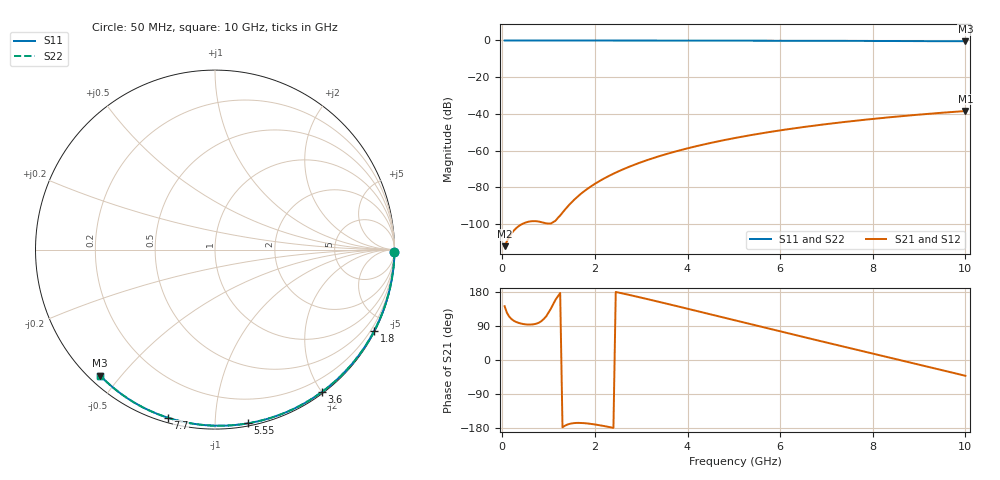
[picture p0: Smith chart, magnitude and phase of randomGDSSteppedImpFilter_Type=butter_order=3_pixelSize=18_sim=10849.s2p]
! freq	dB(S11)	phase(S11)	dB(S12)	phase(S12)
!  dB(S21)	phase(S21)	dB(S22)	phase(S22)
!S-par simulation data
#  GHz  S  DB  R 50
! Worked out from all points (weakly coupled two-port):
!   200 points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, 50 MHz to 10 GHz, reference 50 ohm
!   highest |S21| = -38.41 dB at 10 GHz (marker M1); lowest = -112.0 dB at 50 MHz (marker M2)
!   lowest |S11| = -0.4 dB at 10 GHz (marker M3), VSWR 38.66, Z = 1.55 - j22.1 ohm
!   |S11| at or under -10 dB: nowhere
!   |S22| runs from -0.4 to 0.0 dB; largest |S21 - S12| = 0
!   S11 on the Smith chart (normalised r, x): 50 MHz: open; 1.8 GHz: 0.04, -4.15; 3.6 GHz: 0.02, -2.00; 5.55 GHz: 0.02, -1.21; 7.7 GHz: 0.02, -0.76; 10 GHz: 0.03, -0.44
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0.05  -0.00 -0.8  -111.97 142.0  -111.97 142.0  -0.00 -0.8
0.9  -0.02 -13.7  -99.26 108.8  -99.26 108.8  -0.02 -13.7
1.75  -0.03 -26.4  -82.41 -166.5  -82.41 -166.5  -0.03 -26.4
1.8  -0.03 -27.1  -81.45 -167.0  -81.45 -167.0  -0.03 -27.1
1.85  -0.04 -27.9  -80.55 -167.6  -80.55 -167.6  -0.04 -27.9
1.9  -0.04 -28.6  -79.67 -168.4  -79.67 -168.4  -0.04 -28.6
2.05  -0.04 -30.8  -77.26 -171.1  -77.26 -171.1  -0.04 -30.8
2.25  -0.04 -33.7  -74.42 -175.5  -74.42 -175.5  -0.04 -33.7
2.45  -0.05 -36.6  -71.92 179.5  -71.92 179.5  -0.05 -36.6
2.65  -0.05 -39.5  -69.68 174.3  -69.68 174.3  -0.05 -39.5
3  -0.06 -44.6  -66.25 164.5  -66.25 164.5  -0.06 -44.6
3.4  -0.07 -50.2  -62.91 153.0  -62.91 153.0  -0.07 -50.2
3.6  -0.07 -53.0  -61.41 147.1  -61.41 147.1  -0.07 -53.0
4.3  -0.09 -62.7  -56.90 126.4  -56.90 126.4  -0.09 -62.7
5.05  -0.11 -72.7  -52.97 104.0  -52.97 104.0  -0.11 -72.7
5.55  -0.13 -79.2  -50.74 89.1  -50.74 89.1  -0.13 -79.2
6.1  -0.15 -86.2  -48.57 72.7  -48.57 72.7  -0.15 -86.2
6.7  -0.18 -93.7  -46.47 54.9  -46.47 54.9  -0.18 -93.7
7.7  -0.24 -105.7  -43.50 25.6  -43.50 25.6  -0.24 -105.7
8.35  -0.29 -113.4  -41.84 6.7  -41.84 6.7  -0.29 -113.4
9.15  -0.36 -122.6  -40.04 -16.6  -40.04 -16.6  -0.36 -122.6
10  -0.45 -132.3  -38.41 -41.7  -38.41 -41.7  -0.45 -132.3
